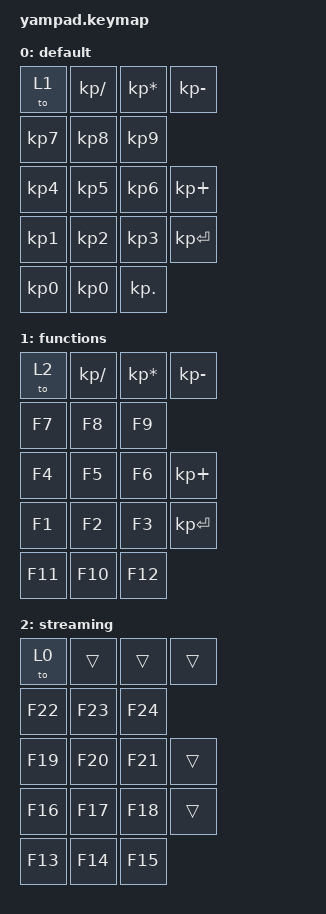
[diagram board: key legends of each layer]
/*
 * Copyright (c) 2025 The ZMK Contributors
 *
 * SPDX-License-Identifier: MIT
 */

#include <behaviors.dtsi>
#include <dt-bindings/zmk/keys.h>
#include <dt-bindings/zmk/bt.h>
#include <dt-bindings/zmk/outputs.h>
#include <dt-bindings/zmk/rgb.h>

/ {

    keymap: keymap {
        compatible = "zmk,keymap";

        default_layer {
            display-name = "default";
            bindings = <
                &to 1            &kp KP_DIVIDE   &kp KP_MULTIPLY   &kp KP_MINUS
                &kp KP_N7        &kp KP_N8       &kp KP_N9
                &kp KP_N4        &kp KP_N5       &kp KP_N6         &kp KP_PLUS
                &kp KP_N1        &kp KP_N2       &kp KP_N3         &kp KP_ENTER        
                &kp KP_N0        &kp KP_N0       &kp KP_DOT
            >;
        };

        functions_layer {
            display-name = "functions";
            bindings = <
                &to 2            &kp KP_DIVIDE   &kp KP_MULTIPLY   &kp KP_MINUS
                &kp F7           &kp F8          &kp F9
                &kp F4           &kp F5          &kp F6            &kp KP_PLUS
                &kp F1           &kp F2          &kp F3            &kp KP_ENTER        
                &kp F11          &kp F10         &kp F12
            >;
        };

        streaming_layer {
            display-name = "streaming";
            bindings = <
                &to 0            &trans          &trans            &trans
                &kp F22          &kp F23         &kp F24
                &kp F19          &kp F20         &kp F21            &trans
                &kp F16          &kp F17         &kp F18           &trans
                &kp F13          &kp F14         &kp F15
            >;
        };

        
    };
};
